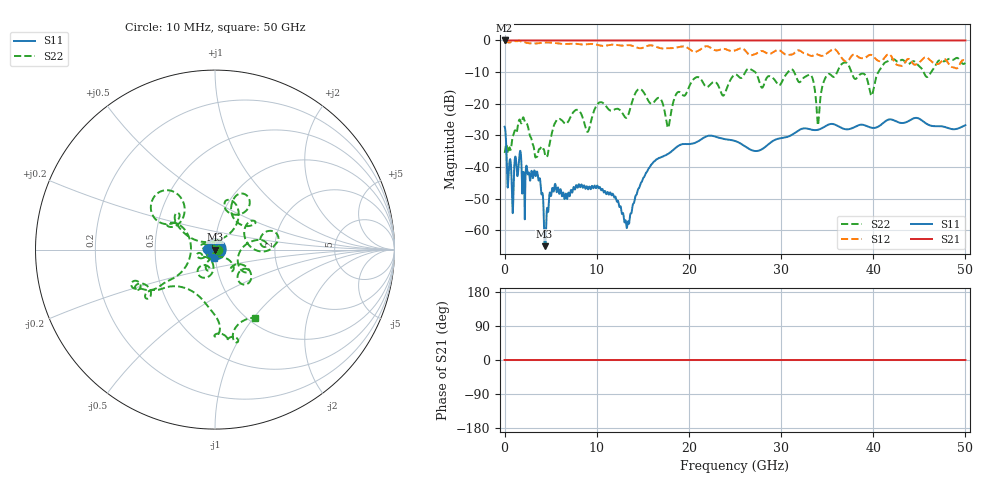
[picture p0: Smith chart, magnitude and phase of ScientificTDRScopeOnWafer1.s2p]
# MHz MA S R 50.0
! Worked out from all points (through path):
!   5000 points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, 10 MHz to 50 GHz, reference 50 ohm
!   highest |S21| = 0.00 dB at 10 MHz (marker M1); lowest = 0.0 dB at 10 MHz (marker M2)
!   lowest |S11| = -65.0 dB at 4.34 GHz (marker M3), VSWR 1.00, Z = 50.1 + j0.0202 ohm
!   |S11| at or under -10 dB: start of sweep to end of sweep
!   |S22| runs from -37.0 to -5.5 dB; largest |S21 - S12| = 2
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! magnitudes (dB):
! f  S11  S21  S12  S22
! 10 MHz  -27.3  0.0  -0.3  -35.6
! 760 MHz  -43.3  0.0  -0.5  -32.7
! 1.62 GHz  -36.3  0.0  -0.1  -25.0
! 2.16 GHz  -49.0  0.0  -0.5  -25.3
! 3.41 GHz  -42.7  0.0  -1.0  -36.9
! 4.34 GHz  -65.0  0.0  -0.6  -35.2
! 5.35 GHz  -47.6  0.0  -0.8  -27.0
! 8.35 GHz  -45.5  0.0  -1.3  -23.4
! 13.31 GHz  -58.6  0.0  -1.5  -24.2
! 14.52 GHz  -46.9  0.0  -2.4  -15.4
! 16.68 GHz  -37.3  0.0  -2.2  -18.1
! 17.75 GHz  -35.8  0.0  -2.4  -27.6
! 20.65 GHz  -32.4  0.0  -3.6  -11.9
! 23.73 GHz  -31.1  0.0  -2.7  -17.4
! 25.01 GHz  -31.7  0.0  -3.1  -10.8
! 33.34 GHz  -28.2  0.0  -4.9  -11.4
! 34.03 GHz  -28.2  0.0  -4.5  -26.6
! 34.82 GHz  -27.1  0.0  -4.4  -11.7
! 36.68 GHz  -27.8  0.0  -5.9  -7.2
! 39.81 GHz  -27.6  0.0  -4.6  -17.5
! 41.67 GHz  -25.0  0.0  -4.3  -6.5
! 50 GHz  -26.8  0.0  -6.7  -7.1
